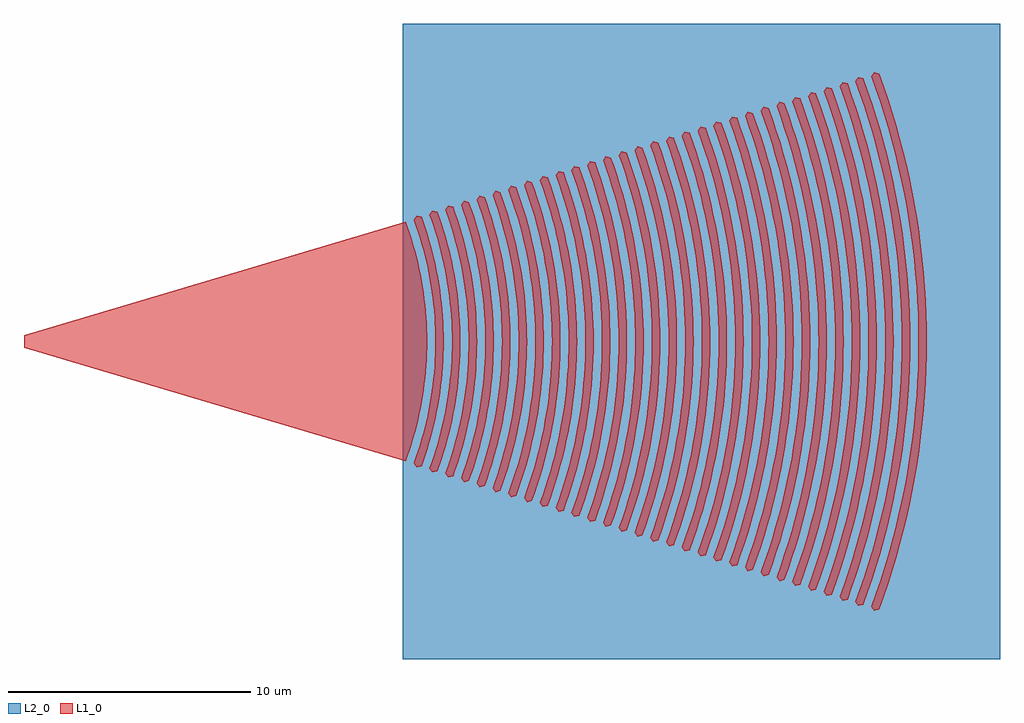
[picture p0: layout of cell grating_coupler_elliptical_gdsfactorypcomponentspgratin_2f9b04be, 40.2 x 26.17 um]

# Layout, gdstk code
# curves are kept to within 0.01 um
import gdstk
lib = gdstk.Library(unit=1e-6, precision=1e-09)
def R(c, l, rs):  # rectangles x0, y0, x1, y1
    for r in rs: c.add(gdstk.rectangle(r[:2], r[2:], *l))
def P(c, l, *ps):  # polygons
    for p in ps: c.add(gdstk.Polygon(p, *l))
L1_0 = (1, 0)
L2_0 = (2, 0)

grating_coupler_elliptic = lib.new_cell('grating_coupler_elliptical_gdsfactorypcomponentspgratin_2f9b04be')
P(grating_coupler_elliptic, L1_0, [(15.723,-4.924),(0,-0.25),(0,0.25),(15.723,4.924),(15.965,4.21),(16.104,3.726),(16.282,2.994),(16.379,2.5),(16.492,1.755),(16.545,1.255),(16.58,0.754),(16.6,0),(16.58,-0.754),(16.545,-1.255),(16.492,-1.755),(16.379,-2.5),(16.282,-2.994),(16.104,-3.726),(15.965,-4.21)],
  [(16.171,-5.185),(16.049,-5.019),(16.295,-4.289),(16.503,-3.549),(16.671,-2.799),(16.799,-2.042),(16.907,-1.023),(16.943,0),(16.907,1.023),(16.799,2.042),(16.671,2.799),(16.503,3.549),(16.295,4.289),(16.049,5.019),(16.171,5.185),(16.371,5.135),(16.699,4.14),(16.955,3.122),(17.099,2.349),(17.203,1.57),(17.265,0.786),(17.287,0),(17.265,-0.786),(17.203,-1.57),(17.099,-2.349),(16.955,-3.122),(16.699,-4.14),(16.371,-5.135)],
  [(16.821,-5.389),(16.699,-5.223),(16.955,-4.463),(17.171,-3.693),(17.346,-2.913),(17.44,-2.388),(17.514,-1.861),(17.592,-1.065),(17.629,0),(17.592,1.065),(17.514,1.861),(17.44,2.388),(17.346,2.913),(17.171,3.693),(16.955,4.463),(16.699,5.223),(16.821,5.389),(17.021,5.339),(17.361,4.304),(17.628,3.246),(17.778,2.442),(17.886,1.632),(17.95,0.817),(17.973,0),(17.95,-0.817),(17.886,-1.632),(17.778,-2.442),(17.628,-3.246),(17.361,-4.304),(17.021,-5.339)],
  [(17.472,-5.592),(17.348,-5.426),(17.531,-4.901),(17.769,-4.105),(17.965,-3.298),(18.118,-2.481),(18.196,-1.933),(18.276,-1.106),(18.306,-0.554),(18.315,0),(18.306,0.554),(18.276,1.106),(18.196,1.933),(18.118,2.481),(17.965,3.298),(17.769,4.105),(17.531,4.901),(17.348,5.426),(17.472,5.592),(17.672,5.542),(18.024,4.468),(18.301,3.37),(18.456,2.535),(18.569,1.694),(18.635,0.848),(18.659,0),(18.635,-0.848),(18.569,-1.694),(18.456,-2.535),(18.301,-3.37),(18.024,-4.468),(17.672,-5.542)],
  [(18.122,-5.796),(17.998,-5.631),(18.275,-4.811),(18.508,-3.981),(18.696,-3.14),(18.797,-2.574),(18.877,-2.006),(18.961,-1.148),(19.001,0),(18.961,1.148),(18.877,2.006),(18.797,2.574),(18.696,3.14),(18.508,3.981),(18.275,4.811),(17.998,5.631),(18.122,5.796),(18.322,5.745),(18.687,4.632),(18.84,4.065),(18.973,3.493),(19.135,2.628),(19.251,1.756),(19.32,0.879),(19.345,0),(19.32,-0.879),(19.251,-1.756),(19.135,-2.628),(18.973,-3.493),(18.84,-4.065),(18.687,-4.632),(18.322,-5.745)],
  [(18.77,-5.999),(18.648,-5.833),(18.934,-4.985),(19.176,-4.125),(19.371,-3.254),(19.475,-2.667),(19.559,-2.078),(19.645,-1.19),(19.677,-0.595),(19.687,0),(19.677,0.595),(19.645,1.19),(19.559,2.078),(19.475,2.667),(19.371,3.254),(19.176,4.125),(18.934,4.985),(18.648,5.833),(18.77,5.999),(18.97,5.949),(19.17,5.376),(19.35,4.796),(19.508,4.209),(19.646,3.617),(19.813,2.721),(19.934,1.818),(20.006,0.91),(20.031,0),(20.006,-0.91),(19.934,-1.818),(19.813,-2.721),(19.646,-3.617),(19.508,-4.209),(19.35,-4.796),(19.17,-5.376),(18.97,-5.949)],
  [(19.421,-6.203),(19.297,-6.037),(19.594,-5.16),(19.844,-4.269),(20.046,-3.367),(20.154,-2.761),(20.24,-2.151),(20.33,-1.231),(20.363,-0.616),(20.373,0),(20.363,0.616),(20.33,1.231),(20.24,2.151),(20.154,2.761),(20.046,3.367),(19.844,4.269),(19.594,5.16),(19.297,6.037),(19.421,6.203),(19.621,6.153),(19.827,5.559),(20.012,4.96),(20.176,4.353),(20.319,3.741),(20.492,2.815),(20.617,1.881),(20.691,0.942),(20.717,0),(20.691,-0.942),(20.617,-1.881),(20.492,-2.815),(20.319,-3.741),(20.176,-4.353),(20.012,-4.96),(19.827,-5.559),(19.621,-6.153)],
  [(20.071,-6.406),(19.947,-6.24),(20.254,-5.333),(20.512,-4.413),(20.721,-3.481),(20.833,-2.854),(20.922,-2.223),(20.989,-1.59),(21.034,-0.955),(21.059,0),(21.048,0.637),(20.989,1.59),(20.922,2.223),(20.833,2.854),(20.721,3.481),(20.512,4.413),(20.254,5.333),(19.947,6.24),(20.071,6.406),(20.271,6.356),(20.483,5.744),(20.675,5.124),(20.844,4.497),(20.992,3.865),(21.171,2.908),(21.3,1.943),(21.376,0.973),(21.403,0),(21.376,-0.973),(21.3,-1.943),(21.171,-2.908),(20.992,-3.865),(20.844,-4.497),(20.675,-5.124),(20.483,-5.744),(20.271,-6.356)],
  [(20.721,-6.61),(20.597,-6.445),(20.914,-5.507),(21.18,-4.557),(21.396,-3.594),(21.511,-2.947),(21.603,-2.296),(21.699,-1.314),(21.734,-0.657),(21.745,0),(21.734,0.657),(21.699,1.314),(21.603,2.296),(21.511,2.947),(21.396,3.594),(21.18,4.557),(20.914,5.507),(20.597,6.445),(20.721,6.61),(20.921,6.559),(21.14,5.928),(21.338,5.288),(21.512,4.641),(21.665,3.988),(21.849,3.001),(21.982,2.005),(22.061,1.004),(22.089,0),(22.061,-1.004),(21.982,-2.005),(21.849,-3.001),(21.665,-3.988),(21.512,-4.641),(21.338,-5.288),(21.14,-5.928),(20.921,-6.559)],
  [(21.369,-6.813),(21.247,-6.647),(21.573,-5.681),(21.848,-4.701),(22.071,-3.708),(22.19,-3.04),(22.285,-2.368),(22.383,-1.356),(22.419,-0.678),(22.431,0),(22.419,0.678),(22.383,1.356),(22.285,2.368),(22.19,3.04),(22.071,3.708),(21.848,4.701),(21.573,5.681),(21.247,6.647),(21.369,6.813),(21.569,6.763),(21.686,6.439),(21.901,5.783),(22.094,5.119),(22.338,4.112),(22.528,3.094),(22.665,2.067),(22.746,1.035),(22.775,0),(22.746,-1.035),(22.665,-2.067),(22.528,-3.094),(22.338,-4.112),(22.094,-5.119),(21.901,-5.783),(21.686,-6.439),(21.569,-6.763)],
  [(22.02,-7.017),(21.897,-6.851),(22.233,-5.855),(22.516,-4.845),(22.746,-3.821),(22.868,-3.133),(22.966,-2.441),(23.068,-1.397),(23.105,-0.699),(23.117,0),(23.105,0.699),(23.068,1.397),(22.966,2.441),(22.868,3.133),(22.746,3.821),(22.516,4.845),(22.233,5.855),(21.897,6.851),(22.02,7.017),(22.219,6.967),(22.339,6.632),(22.663,5.616),(22.848,4.929),(23.011,4.236),(23.206,3.187),(23.348,2.129),(23.432,1.066),(23.461,0),(23.432,-1.066),(23.348,-2.129),(23.206,-3.187),(23.011,-4.236),(22.848,-4.929),(22.663,-5.616),(22.339,-6.632),(22.219,-6.967)],
  [(22.67,-7.22),(22.546,-7.054),(22.893,-6.029),(23.185,-4.989),(23.421,-3.935),(23.547,-3.226),(23.648,-2.513),(23.724,-1.797),(23.791,-0.72),(23.803,0),(23.791,0.72),(23.724,1.797),(23.648,2.513),(23.547,3.226),(23.421,3.935),(23.185,4.989),(22.893,6.029),(22.546,7.054),(22.67,7.22),(22.87,7.17),(22.992,6.826),(23.326,5.78),(23.517,5.073),(23.684,4.359),(23.885,3.28),(24.03,2.192),(24.117,1.097),(24.147,0),(24.117,-1.097),(24.03,-2.192),(23.885,-3.28),(23.684,-4.359),(23.517,-5.073),(23.326,-5.78),(22.992,-6.826),(22.87,-7.17)],
  [(23.32,-7.424),(23.196,-7.259),(23.552,-6.203),(23.853,-5.133),(24.096,-4.048),(24.226,-3.319),(24.329,-2.586),(24.437,-1.48),(24.476,-0.74),(24.489,0),(24.476,0.74),(24.437,1.48),(24.329,2.586),(24.226,3.319),(24.096,4.048),(23.853,5.133),(23.552,6.203),(23.196,7.259),(23.32,7.424),(23.52,7.373),(23.766,6.663),(24.09,5.581),(24.274,4.851),(24.432,4.114),(24.564,3.373),(24.713,2.254),(24.802,1.128),(24.833,0),(24.802,-1.128),(24.713,-2.254),(24.564,-3.373),(24.432,-4.114),(24.274,-4.851),(24.09,-5.581),(23.766,-6.663),(23.52,-7.373)],
  [(23.968,-7.627),(23.846,-7.461),(24.212,-6.377),(24.521,-5.276),(24.771,-4.162),(24.904,-3.412),(25.011,-2.658),(25.091,-1.901),(25.162,-0.761),(25.175,0),(25.162,0.761),(25.091,1.901),(25.011,2.658),(24.904,3.412),(24.771,4.162),(24.521,5.276),(24.212,6.377),(23.846,7.461),(23.968,7.627),(24.168,7.577),(24.423,6.846),(24.756,5.735),(24.944,4.984),(25.107,4.228),(25.3,3.084),(25.396,2.316),(25.487,1.16),(25.519,0),(25.487,-1.16),(25.396,-2.316),(25.3,-3.084),(25.107,-4.228),(24.944,-4.984),(24.756,-5.735),(24.423,-6.846),(24.168,-7.577)],
  [(24.619,-7.831),(24.496,-7.665),(24.872,-6.551),(25.189,-5.42),(25.445,-4.275),(25.583,-3.505),(25.693,-2.731),(25.806,-1.563),(25.848,-0.782),(25.861,0),(25.848,0.782),(25.806,1.563),(25.693,2.731),(25.583,3.505),(25.445,4.275),(25.189,5.42),(24.872,6.551),(24.496,7.665),(24.619,7.831),(24.818,7.781),(25.079,7.031),(25.421,5.889),(25.615,5.118),(25.781,4.341),(25.981,3.166),(26.079,2.378),(26.172,1.191),(26.205,0),(26.172,-1.191),(26.079,-2.378),(25.981,-3.166),(25.781,-4.341),(25.615,-5.118),(25.421,-5.889),(25.079,-7.031),(24.818,-7.781)],
  [(25.269,-8.034),(25.145,-7.868),(25.532,-6.724),(25.857,-5.564),(26.12,-4.389),(26.261,-3.598),(26.374,-2.803),(26.49,-1.605),(26.533,-0.803),(26.547,0),(26.533,0.803),(26.49,1.605),(26.374,2.803),(26.261,3.598),(26.12,4.389),(25.857,5.564),(25.532,6.724),(25.145,7.868),(25.269,8.034),(25.469,7.984),(25.736,7.215),(26.087,6.043),(26.286,5.252),(26.456,4.455),(26.661,3.249),(26.761,2.44),(26.857,1.222),(26.891,0),(26.857,-1.222),(26.761,-2.44),(26.661,-3.249),(26.456,-4.455),(26.286,-5.252),(26.087,-6.043),(25.736,-7.215),(25.469,-7.984)],
  [(25.919,-8.238),(25.795,-8.073),(26.191,-6.898),(26.525,-5.708),(26.712,-4.906),(26.94,-3.691),(27.056,-2.876),(27.175,-1.646),(27.219,-0.824),(27.233,0),(27.219,0.824),(27.175,1.646),(27.056,2.876),(26.94,3.691),(26.712,4.906),(26.525,5.708),(26.191,6.898),(25.795,8.073),(25.919,8.238),(26.119,8.187),(26.392,7.398),(26.752,6.197),(26.956,5.386),(27.131,4.568),(27.341,3.332),(27.444,2.503),(27.543,1.253),(27.577,0),(27.543,-1.253),(27.444,-2.503),(27.341,-3.332),(27.131,-4.568),(26.956,-5.386),(26.752,-6.197),(26.392,-7.398),(26.119,-8.187)],
  [(26.567,-8.441),(26.445,-8.275),(26.851,-7.072),(27.193,-5.852),(27.385,-5.03),(27.619,-3.784),(27.737,-2.948),(27.86,-1.688),(27.905,-0.844),(27.919,0),(27.905,0.844),(27.86,1.688),(27.737,2.948),(27.619,3.784),(27.385,5.03),(27.193,5.852),(26.851,7.072),(26.445,8.275),(26.567,8.441),(26.767,8.391),(27.049,7.582),(27.418,6.351),(27.627,5.52),(27.806,4.682),(27.957,3.838),(28.127,2.565),(28.228,1.284),(28.263,0),(28.228,-1.284),(28.127,-2.565),(27.957,-3.838),(27.806,-4.682),(27.627,-5.52),(27.418,-6.351),(27.049,-7.582),(26.767,-8.391)],
  [(27.217,-8.645),(27.095,-8.479),(27.511,-7.246),(27.862,-5.996),(28.058,-5.153),(28.297,-3.877),(28.419,-3.021),(28.51,-2.16),(28.571,-1.297),(28.605,0),(28.59,0.865),(28.51,2.16),(28.419,3.021),(28.297,3.877),(28.058,5.153),(27.862,5.996),(27.511,7.246),(27.095,8.479),(27.217,8.645),(27.417,8.595),(27.706,7.766),(27.965,6.928),(28.194,6.08),(28.481,4.795),(28.701,3.498),(28.852,2.19),(28.913,1.315),(28.949,0),(28.913,-1.315),(28.852,-2.19),(28.701,-3.498),(28.481,-4.795),(28.194,-6.08),(27.965,-6.928),(27.706,-7.766),(27.417,-8.595)],
  [(27.868,-8.848),(27.744,-8.682),(28.171,-7.42),(28.53,-6.14),(28.82,-4.843),(28.976,-3.971),(29.1,-3.093),(29.229,-1.771),(29.276,-0.886),(29.291,0),(29.276,0.886),(29.229,1.771),(29.1,3.093),(28.976,3.971),(28.82,4.843),(28.53,6.14),(28.171,7.42),(27.744,8.682),(27.868,8.848),(28.068,8.798),(28.362,7.951),(28.749,6.659),(28.968,5.787),(29.156,4.909),(29.314,4.025),(29.492,2.689),(29.598,1.346),(29.635,0),(29.598,-1.346),(29.492,-2.689),(29.314,-4.025),(29.156,-4.909),(28.968,-5.787),(28.749,-6.659),(28.362,-7.951),(28.068,-8.798)],
  [(28.518,-9.052),(28.394,-8.887),(28.83,-7.594),(29.198,-6.284),(29.495,-4.957),(29.654,-4.064),(29.782,-3.166),(29.913,-1.812),(29.961,-0.907),(29.977,0),(29.961,0.907),(29.913,1.812),(29.782,3.166),(29.654,4.064),(29.495,4.957),(29.198,6.284),(28.83,7.594),(28.394,8.887),(28.518,9.052),(28.718,9.001),(29.019,8.135),(29.415,6.813),(29.639,5.921),(29.831,5.023),(30.061,3.663),(30.175,2.751),(30.283,1.378),(30.321,0),(30.283,-1.378),(30.175,-2.751),(30.061,-3.663),(29.831,-5.023),(29.639,-5.921),(29.415,-6.813),(29.019,-8.135),(28.718,-9.001)],
  [(29.166,-9.255),(29.044,-9.089),(29.49,-7.768),(29.866,-6.428),(30.17,-5.07),(30.333,-4.157),(30.516,-2.778),(30.598,-1.854),(30.647,-0.927),(30.663,0),(30.647,0.927),(30.598,1.854),(30.516,2.778),(30.333,4.157),(30.17,5.07),(29.866,6.428),(29.49,7.768),(29.044,9.089),(29.166,9.255),(29.366,9.205),(29.675,8.317),(30.08,6.967),(30.309,6.055),(30.506,5.136),(30.742,3.746),(30.858,2.814),(30.968,1.409),(31.007,0),(30.968,-1.409),(30.858,-2.814),(30.742,-3.746),(30.506,-5.136),(30.309,-6.055),(30.08,-6.967),(29.675,-8.317),(29.366,-9.205)],
  [(29.816,-9.459),(29.694,-9.293),(30.15,-7.942),(30.534,-6.572),(30.845,-5.184),(31.012,-4.25),(31.145,-3.311),(31.282,-1.895),(31.333,-0.948),(31.349,0),(31.333,0.948),(31.282,1.895),(31.145,3.311),(31.012,4.25),(30.845,5.184),(30.534,6.572),(30.15,7.942),(29.694,9.293),(29.816,9.459),(30.016,9.409),(30.332,8.501),(30.746,7.121),(30.98,6.189),(31.181,5.25),(31.422,3.829),(31.54,2.876),(31.654,1.44),(31.693,0),(31.654,-1.44),(31.54,-2.876),(31.422,-3.829),(31.181,-5.25),(30.98,-6.189),(30.746,-7.121),(30.332,-8.501),(30.016,-9.409)],
  [(30.467,-9.662),(30.343,-9.496),(30.81,-8.117),(31.202,-6.716),(31.52,-5.297),(31.69,-4.343),(31.826,-3.383),(31.967,-1.937),(32.018,-0.969),(32.035,0),(32.018,0.969),(31.967,1.937),(31.826,3.383),(31.69,4.343),(31.52,5.297),(31.202,6.716),(30.81,8.117),(30.343,9.496),(30.467,9.662),(30.667,9.612),(30.989,8.686),(31.411,7.275),(31.65,6.323),(31.856,5.363),(32.102,3.912),(32.223,2.938),(32.339,1.471),(32.379,0),(32.339,-1.471),(32.223,-2.938),(32.102,-3.912),(31.856,-5.363),(31.65,-6.323),(31.411,-7.275),(30.989,-8.686),(30.667,-9.612)],
  [(31.117,-9.866),(30.994,-9.7),(31.469,-8.29),(31.871,-6.86),(32.195,-5.411),(32.369,-4.436),(32.508,-3.456),(32.612,-2.471),(32.704,-0.99),(32.721,0),(32.704,0.99),(32.612,2.471),(32.508,3.456),(32.369,4.436),(32.195,5.411),(31.871,6.86),(31.469,8.29),(30.994,9.7),(31.117,9.866),(31.316,9.816),(31.645,8.869),(32.077,7.429),(32.321,6.457),(32.531,5.477),(32.707,4.49),(32.906,3),(33.024,1.502),(33.065,0),(33.024,-1.502),(32.906,-3),(32.707,-4.49),(32.531,-5.477),(32.321,-6.457),(32.077,-7.429),(31.645,-8.869),(31.316,-9.816)],
  [(31.765,-10.069),(31.643,-9.903),(32.129,-8.464),(32.539,-7.004),(32.87,-5.524),(33.047,-4.529),(33.189,-3.528),(33.336,-2.02),(33.39,-1.01),(33.407,0),(33.39,1.01),(33.336,2.02),(33.189,3.528),(33.047,4.529),(32.87,5.524),(32.539,7.004),(32.129,8.464),(31.643,9.903),(31.765,10.069),(31.965,10.019),(32.302,9.053),(32.742,7.583),(32.992,6.591),(33.206,5.59),(33.462,4.077),(33.638,2.553),(33.732,1.022),(33.751,0),(33.732,-1.022),(33.638,-2.553),(33.462,-4.077),(33.206,-5.59),(32.992,-6.591),(32.742,-7.583),(32.302,-9.053),(31.965,-10.019)],
  [(32.415,-10.273),(32.293,-10.107),(32.789,-8.638),(33.207,-7.148),(33.545,-5.638),(33.726,-4.622),(33.871,-3.601),(34.02,-2.061),(34.075,-1.031),(34.093,0),(34.075,1.031),(34.02,2.061),(33.871,3.601),(33.726,4.622),(33.545,5.638),(33.207,7.148),(32.789,8.638),(32.293,10.107),(32.415,10.273),(32.615,10.223),(32.958,9.237),(33.408,7.737),(33.662,6.724),(33.881,5.704),(34.064,4.676),(34.271,3.125),(34.394,1.564),(34.437,0),(34.394,-1.564),(34.271,-3.125),(34.064,-4.676),(33.881,-5.704),(33.662,-6.724),(33.408,-7.737),(32.958,-9.237),(32.615,-10.223)],
  [(33.066,-10.476),(32.942,-10.31),(33.449,-8.812),(33.875,-7.292),(34.22,-5.751),(34.405,-4.715),(34.612,-3.151),(34.705,-2.103),(34.761,-1.052),(34.779,0),(34.761,1.052),(34.705,2.103),(34.612,3.151),(34.405,4.715),(34.22,5.751),(33.875,7.292),(33.449,8.812),(32.942,10.31),(33.066,10.476),(33.266,10.426),(33.615,9.422),(34.073,7.891),(34.333,6.858),(34.556,5.817),(34.823,4.243),(34.954,3.187),(35.08,1.596),(35.123,0),(35.08,-1.596),(34.954,-3.187),(34.823,-4.243),(34.556,-5.817),(34.333,-6.858),(34.073,-7.891),(33.615,-9.422),(33.266,-10.426)],
  [(33.716,-10.68),(33.593,-10.514),(34.108,-8.986),(34.543,-7.436),(34.895,-5.865),(35.083,-4.808),(35.234,-3.746),(35.347,-2.679),(35.423,-1.609),(35.465,0),(35.423,1.609),(35.347,2.679),(35.234,3.746),(35.083,4.808),(34.895,5.865),(34.543,7.436),(34.108,8.986),(33.593,10.514),(33.716,10.68),(33.915,10.63),(34.436,9.088),(34.739,8.045),(34.875,7.52),(35.231,5.931),(35.503,4.326),(35.689,2.709),(35.765,1.627),(35.809,0),(35.765,-1.627),(35.689,-2.709),(35.503,-4.326),(35.231,-5.931),(34.875,-7.52),(34.739,-8.045),(34.436,-9.088),(33.915,-10.63)],
  [(34.364,-10.883),(34.242,-10.717),(34.427,-10.201),(34.768,-9.16),(35.211,-7.58),(35.57,-5.978),(35.762,-4.901),(35.915,-3.818),(36.074,-2.186),(36.132,-1.093),(36.151,0),(36.132,1.093),(36.074,2.186),(35.915,3.818),(35.762,4.901),(35.57,5.978),(35.211,7.58),(34.768,9.16),(34.427,10.201),(34.242,10.717),(34.364,10.883),(34.564,10.833),(34.751,10.313),(35.096,9.262),(35.255,8.732),(35.543,7.664),(35.674,7.126),(35.906,6.044),(36.183,4.409),(36.319,3.311),(36.45,1.658),(36.495,0),(36.45,-1.658),(36.319,-3.311),(36.183,-4.409),(35.906,-6.044),(35.795,-6.586),(35.543,-7.664),(35.255,-8.732),(35.096,-9.262),(34.751,-10.313),(34.564,-10.833)],
  [(35.015,-11.087),(34.891,-10.921),(35.08,-10.394),(35.428,-9.334),(35.879,-7.724),(36.011,-7.182),(36.245,-6.092),(36.44,-4.994),(36.597,-3.891),(36.759,-2.227),(36.818,-1.114),(36.837,0),(36.818,1.114),(36.759,2.227),(36.597,3.891),(36.44,4.994),(36.245,6.092),(36.011,7.182),(35.879,7.724),(35.428,9.334),(35.259,9.865),(34.891,10.921),(35.015,11.087),(35.215,11.037),(35.756,9.436),(36.07,8.353),(36.211,7.808),(36.345,7.26),(36.581,6.158),(36.685,5.604),(36.863,4.491),(37.002,3.373),(37.101,2.251),(37.135,1.689),(37.181,0),(37.135,-1.689),(37.101,-2.251),(37.002,-3.373),(36.863,-4.491),(36.685,-5.604),(36.581,-6.158),(36.345,-7.26),(36.211,-7.808),(36.07,-8.353),(35.756,-9.436),(35.215,-11.037)])
R(grating_coupler_elliptic, L2_0, [(15.6,-13.087,40.195,13.087)])

lib.write_gds('grating_coupler_elliptical_gdsfactorypcomponentspgratin_2f9b04be.gds')
